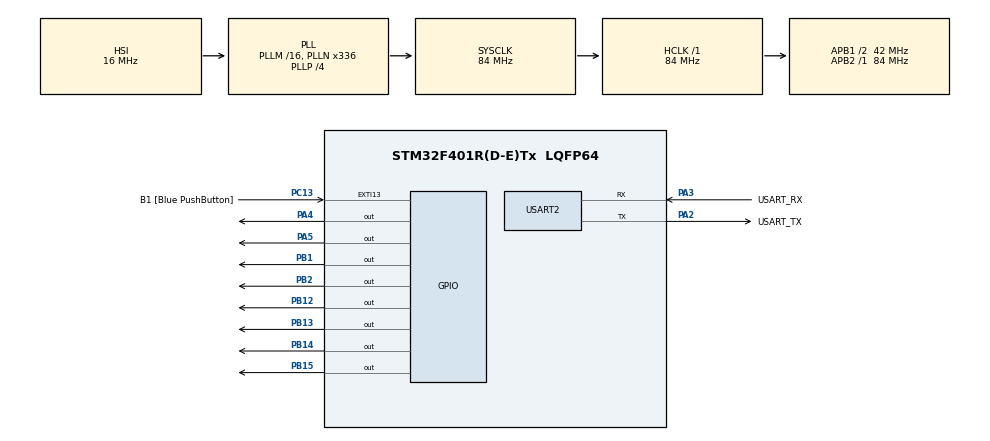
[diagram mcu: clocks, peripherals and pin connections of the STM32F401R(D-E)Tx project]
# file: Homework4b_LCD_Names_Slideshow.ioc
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Mcu.Family=STM32F4
Mcu.Name=STM32F401R(D-E)Tx
Mcu.Package=LQFP64
NVIC.PriorityGroup=NVIC_PRIORITYGROUP_0
NVIC.TIM3_IRQn=true\:0\:0\:false\:false\:true\:true\:true\:true
PA13.GPIO_Label=TMS
PA13.Mode=Serial_Wire
PA13.Signal=SYS_JTMS-SWDIO
PA14.GPIO_Label=TCK
PA14.Mode=Serial_Wire
PA14.Signal=SYS_JTCK-SWCLK
PA2.GPIO_Label=USART_TX
PA2.GPIO_Mode=GPIO_MODE_AF_PP
PA2.GPIO_PuPd=GPIO_NOPULL
PA2.GPIO_Speed=GPIO_SPEED_FREQ_LOW
PA2.Mode=Asynchronous
PA2.Signal=USART2_TX
PA3.GPIO_Label=USART_RX
PA3.GPIO_Mode=GPIO_MODE_AF_PP
PA3.GPIO_PuPd=GPIO_NOPULL
PA3.GPIO_Speed=GPIO_SPEED_FREQ_LOW
PA3.Mode=Asynchronous
PA3.Signal=USART2_RX
PA4.Signal=GPIO_Output
PA5.Signal=GPIO_Output
PB1.Signal=GPIO_Output
PB12.Signal=GPIO_Output
PB13.Signal=GPIO_Output
PB14.Signal=GPIO_Output
PB15.Signal=GPIO_Output
PB2.Signal=GPIO_Output
PB3.GPIO_Label=SWO
PB3.Signal=SYS_JTDO-SWO
PC13-ANTI_TAMP.GPIO_Label=B1 [Blue PushButton]
PC13-ANTI_TAMP.GPIO_ModeDefaultEXTI=GPIO_MODE_IT_FALLING
PC13-ANTI_TAMP.GPIO_PuPd=GPIO_NOPULL
PC13-ANTI_TAMP.Signal=GPXTI13
PC14-OSC32_IN.Mode=LSE-External-Oscillator
PC14-OSC32_IN.Signal=RCC_OSC32_IN
PC15-OSC32_OUT.Mode=LSE-External-Oscillator
PC15-OSC32_OUT.Signal=RCC_OSC32_OUT
PH0\ -\ OSC_IN.Mode=HSE-External-Clock-Source
PH0\ -\ OSC_IN.Signal=RCC_OSC_IN
PH1\ -\ OSC_OUT.Mode=HSE-External-Clock-Source
PH1\ -\ OSC_OUT.Signal=RCC_OSC_OUT
ProjectManager.HeapSize=0x200
ProjectManager.StackSize=0x400
ProjectManager.TargetToolchain=STM32CubeIDE
RCC.48MHZClocksFreq_Value=48000000
RCC.AHBFreq_Value=84000000
RCC.APB1CLKDivider=RCC_HCLK_DIV2
RCC.APB1Freq_Value=42000000
RCC.APB1TimFreq_Value=84000000
RCC.APB2Freq_Value=84000000
RCC.APB2TimFreq_Value=84000000
RCC.CortexFreq_Value=84000000
RCC.HCLKFreq_Value=84000000
RCC.HSE_VALUE=8000000
RCC.HSI_VALUE=16000000
RCC.PLLN=336
RCC.PLLP=RCC_PLLP_DIV4
RCC.PLLQ=7
RCC.SYSCLKFreq_VALUE=84000000
RCC.SYSCLKSource=RCC_SYSCLKSOURCE_PLLCLK
RCC.VCOOutputFreq_Value=336000000
TIM3.Period=10000-1
TIM3.Prescaler=8400-1
USART2.VirtualMode=VM_ASYNC
VP_TIM3_VS_ClockSourceINT.Mode=Internal
board=NUCLEO-F401RE

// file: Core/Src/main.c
/* USER CODE BEGIN Header */
/**
  ******************************************************************************
  * @file           : main.c
  * @brief          : Main program body
  ******************************************************************************
  * @attention
  *
  * Copyright (c) 2024 STMicroelectronics.
  * All rights reserved.
  *
  * This software is licensed under terms that can be found in the LICENSE file
  * in the root directory of this software component.
  * If no LICENSE file comes with this software, it is provided AS-IS.
  *
  *
  ******************************************************************************
  * GOAL:
  * Write on the LCD the name of each member of your group, one per line, in
  * alphabetical order. Scroll every one second.

  */
/* USER CODE END Header */
#include "main.h"

/* USER CODE BEGIN Includes */

#include "PMDB16_LCD.h"
#include "string.h"
#include "stdio.h"

/* USER CODE END Includes */

/* USER CODE BEGIN PD */

#define STR_LENGTH 16 //Char present in the LCD display for every line

/* USER CODE END PD */

/* USER CODE BEGIN PM */
//TIM3 set at interrupt mode every second (Prescaler 8400-1 and ARR 10000-1)

/* USER CODE END PM */

TIM_HandleTypeDef htim3;
UART_HandleTypeDef huart2;

void SystemClock_Config(void);
static void MX_GPIO_Init(void);
static void MX_USART2_UART_Init(void);
static void MX_TIM3_Init(void);

/* USER CODE BEGIN 0 */

char members [][STR_LENGTH] = {"Federico", "Francesco", "Samuele F.", "Samuele Z.", "Stefano"};

uint8_t indexx = 0;

uint8_t row = 0;

void HAL_TIM_PeriodElapsedCallback(TIM_HandleTypeDef *htim){
	if(&htim3 == htim){
		//ISR for the scrolling of names
		indexx++;
		//Print of the first row
		lcd_println(members[indexx-1], 0);
		if(indexx == 5){
			indexx = 0;
		}
		//Print of the second row
		lcd_println(members[indexx],1);
	}
}

/* USER CODE END 0 */

int main(void)
{

  /* MCU Configuration--------------------------------------------------------*/

  /* Reset of all peripherals, Initializes the Flash interface and the Systick. */
  HAL_Init();

  /* Configure the system clock */
  SystemClock_Config();

  /* Initialize all configured peripherals */
  MX_GPIO_Init();
  MX_USART2_UART_Init();
  MX_TIM3_Init();
  /* USER CODE BEGIN 2 */
  //LCD initialization
  lcd_initialize();
  lcd_backlight_ON();

  //Very first print
  lcd_println(members[indexx],1);

  __HAL_TIM_SET_COUNTER(&htim3, 0);				//timer reset counter
  __HAL_TIM_CLEAR_IT(&htim3, TIM_IT_UPDATE);	//clear interrupt request BEFORE enabling tim interrupt
  HAL_TIM_Base_Start_IT(&htim3);				//timer starts to count

  /* USER CODE END 2 */

  /* Infinite loop */
  while (1)
  {

    /* USER CODE BEGIN 3 */

//	  lcd_println(member5, row);

  }

  /* USER CODE END 3 */
}

void SystemClock_Config(void)
{
  RCC_OscInitTypeDef RCC_OscInitStruct = {0};
  RCC_ClkInitTypeDef RCC_ClkInitStruct = {0};

  /** Configure the main internal regulator output voltage
  */
  __HAL_RCC_PWR_CLK_ENABLE();
  __HAL_PWR_VOLTAGESCALING_CONFIG(PWR_REGULATOR_VOLTAGE_SCALE2);

  /** Initializes the RCC Oscillators according to the specified parameters
  * in the RCC_OscInitTypeDef structure.
  */
  RCC_OscInitStruct.OscillatorType = RCC_OSCILLATORTYPE_HSI;
  RCC_OscInitStruct.HSIState = RCC_HSI_ON;
  RCC_OscInitStruct.HSICalibrationValue = RCC_HSICALIBRATION_DEFAULT;
  RCC_OscInitStruct.PLL.PLLState = RCC_PLL_ON;
  RCC_OscInitStruct.PLL.PLLSource = RCC_PLLSOURCE_HSI;
  RCC_OscInitStruct.PLL.PLLM = 16;
  RCC_OscInitStruct.PLL.PLLN = 336;
  RCC_OscInitStruct.PLL.PLLP = RCC_PLLP_DIV4;
  RCC_OscInitStruct.PLL.PLLQ = 7;
  if (HAL_RCC_OscConfig(&RCC_OscInitStruct) != HAL_OK)
  {
    Error_Handler();
  }

  /** Initializes the CPU, AHB and APB buses clocks
  */
  RCC_ClkInitStruct.ClockType = RCC_CLOCKTYPE_HCLK|RCC_CLOCKTYPE_SYSCLK
                              |RCC_CLOCKTYPE_PCLK1|RCC_CLOCKTYPE_PCLK2;
  RCC_ClkInitStruct.SYSCLKSource = RCC_SYSCLKSOURCE_PLLCLK;
  RCC_ClkInitStruct.AHBCLKDivider = RCC_SYSCLK_DIV1;
  RCC_ClkInitStruct.APB1CLKDivider = RCC_HCLK_DIV2;
  RCC_ClkInitStruct.APB2CLKDivider = RCC_HCLK_DIV1;

  if (HAL_RCC_ClockConfig(&RCC_ClkInitStruct, FLASH_LATENCY_2) != HAL_OK)
  {
    Error_Handler();
  }
}

static void MX_TIM3_Init(void)
{

  TIM_ClockConfigTypeDef sClockSourceConfig = {0};
  TIM_MasterConfigTypeDef sMasterConfig = {0};

  htim3.Instance = TIM3;
  htim3.Init.Prescaler = 8400-1;
  htim3.Init.CounterMode = TIM_COUNTERMODE_UP;
  htim3.Init.Period = 10000-1;
  htim3.Init.ClockDivision = TIM_CLOCKDIVISION_DIV1;
  htim3.Init.AutoReloadPreload = TIM_AUTORELOAD_PRELOAD_DISABLE;
  if (HAL_TIM_Base_Init(&htim3) != HAL_OK)
  {
    Error_Handler();
  }
  sClockSourceConfig.ClockSource = TIM_CLOCKSOURCE_INTERNAL;
  if (HAL_TIM_ConfigClockSource(&htim3, &sClockSourceConfig) != HAL_OK)
  {
    Error_Handler();
  }
  sMasterConfig.MasterOutputTrigger = TIM_TRGO_RESET;
  sMasterConfig.MasterSlaveMode = TIM_MASTERSLAVEMODE_DISABLE;
  if (HAL_TIMEx_MasterConfigSynchronization(&htim3, &sMasterConfig) != HAL_OK)
  {
    Error_Handler();
  }

}

static void MX_USART2_UART_Init(void)
{

  huart2.Instance = USART2;
  huart2.Init.BaudRate = 115200;
  huart2.Init.WordLength = UART_WORDLENGTH_8B;
  huart2.Init.StopBits = UART_STOPBITS_1;
  huart2.Init.Parity = UART_PARITY_NONE;
  huart2.Init.Mode = UART_MODE_TX_RX;
  huart2.Init.HwFlowCtl = UART_HWCONTROL_NONE;
  huart2.Init.OverSampling = UART_OVERSAMPLING_16;
  if (HAL_UART_Init(&huart2) != HAL_OK)
  {
    Error_Handler();
  }

}

static void MX_GPIO_Init(void)
{
  GPIO_InitTypeDef GPIO_InitStruct = {0};

  /* GPIO Ports Clock Enable */
  __HAL_RCC_GPIOC_CLK_ENABLE();
  __HAL_RCC_GPIOH_CLK_ENABLE();
  __HAL_RCC_GPIOA_CLK_ENABLE();
  __HAL_RCC_GPIOB_CLK_ENABLE();

  /*Configure GPIO pin Output Level */
  HAL_GPIO_WritePin(GPIOA, GPIO_PIN_4|GPIO_PIN_5, GPIO_PIN_RESET);

  /*Configure GPIO pin Output Level */
  HAL_GPIO_WritePin(GPIOB, GPIO_PIN_1|GPIO_PIN_2|GPIO_PIN_12|GPIO_PIN_13
                          |GPIO_PIN_14|GPIO_PIN_15, GPIO_PIN_RESET);

  /*Configure GPIO pin : B1_Pin */
  GPIO_InitStruct.Pin = B1_Pin;
  GPIO_InitStruct.Mode = GPIO_MODE_IT_FALLING;
  GPIO_InitStruct.Pull = GPIO_NOPULL;
  HAL_GPIO_Init(B1_GPIO_Port, &GPIO_InitStruct);

  /*Configure GPIO pins : PA4 PA5 */
  GPIO_InitStruct.Pin = GPIO_PIN_4|GPIO_PIN_5;
  GPIO_InitStruct.Mode = GPIO_MODE_OUTPUT_PP;
  GPIO_InitStruct.Pull = GPIO_NOPULL;
  GPIO_InitStruct.Speed = GPIO_SPEED_FREQ_LOW;
  HAL_GPIO_Init(GPIOA, &GPIO_InitStruct);

  /*Configure GPIO pins : PB1 PB2 PB12 PB13
                           PB14 PB15 */
  GPIO_InitStruct.Pin = GPIO_PIN_1|GPIO_PIN_2|GPIO_PIN_12|GPIO_PIN_13
                          |GPIO_PIN_14|GPIO_PIN_15;
  GPIO_InitStruct.Mode = GPIO_MODE_OUTPUT_PP;
  GPIO_InitStruct.Pull = GPIO_NOPULL;
  GPIO_InitStruct.Speed = GPIO_SPEED_FREQ_LOW;
  HAL_GPIO_Init(GPIOB, &GPIO_InitStruct);

}

void Error_Handler(void)
{
  __disable_irq();
  while (1)
  {
  }
}
